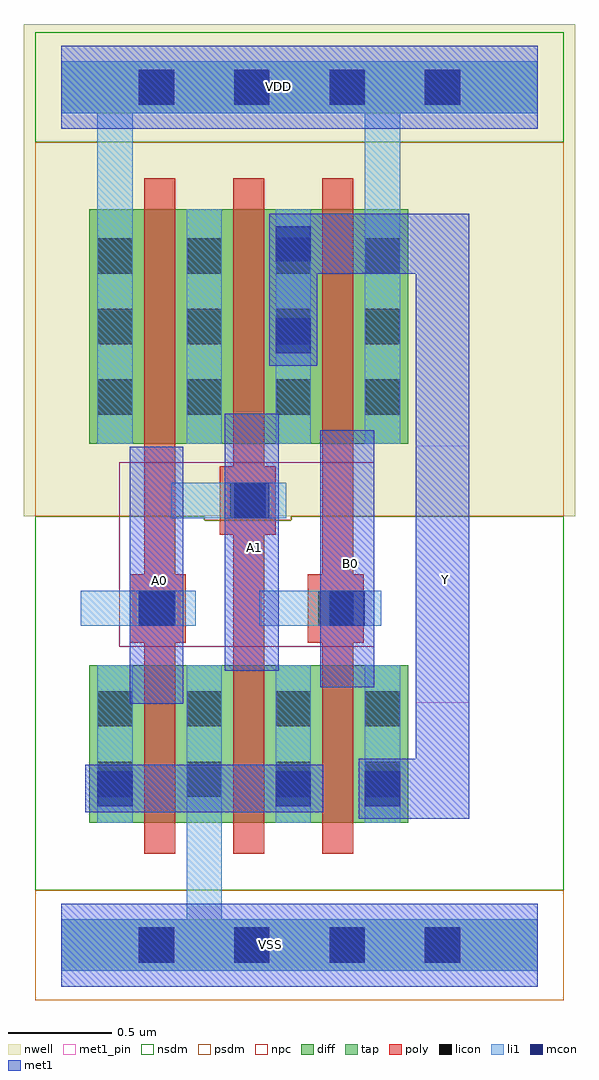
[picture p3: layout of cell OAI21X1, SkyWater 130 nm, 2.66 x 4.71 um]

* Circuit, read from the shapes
.subckt OAI21X1 A0 A1 B0 VDD VSS Y
XM1 VSS A0 n1 VSS sky130_fd_pr__nfet_01v8 w=0.76 l=0.15
XM2 n1 A1 VSS VSS sky130_fd_pr__nfet_01v8 w=0.76 l=0.15
XM3 Y B0 n1 VSS sky130_fd_pr__nfet_01v8 w=0.76 l=0.15
XM4 n2 A0 VDD VDD sky130_fd_pr__pfet_01v8 w=1.13 l=0.15
XM5 Y A1 n2 VDD sky130_fd_pr__pfet_01v8 w=1.13 l=0.15
XM6 VDD B0 Y VDD sky130_fd_pr__pfet_01v8 w=1.13 l=0.15
.ends

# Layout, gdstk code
from math import pi, radians
import gdstk
lib = gdstk.Library(unit=1e-6, precision=1e-09)
def R(c, l, rs):  # rectangles x0, y0, x1, y1
    for r in rs: c.add(gdstk.rectangle(r[:2], r[2:], *l))
def A(c, l, x, y, w, h, nx, ny, dx, dy):  # array of equal rectangles
    R(c, l, [(x+i*dx, y+j*dy, x+i*dx+w, y+j*dy+h) for i in range(nx) for j in range(ny)])
def P(c, l, *ps):  # polygons
    for p in ps: c.add(gdstk.Polygon(p, *l))
nwell = (64, 20)
diff = (65, 20)
tap = (65, 44)
poly = (66, 20)
licon = (66, 44)
li1 = (67, 20)
mcon = (67, 44)
met1_pin = (68, 16)
met1 = (68, 20)
nsdm = (93, 44)
psdm = (94, 20)
npc = (95, 20)

pfet_01v8_cdns_716492285 = lib.new_cell('pfet_01v8_CDNS_71649228522130')
R(pfet_01v8_cdns_716492285, nwell, [(-0.235,-0.18,0.555,1.31)])
R(pfet_01v8_cdns_716492285, diff, [(-0.055,0,0,1.13), (0,0,0.15,1.13), (0.15,0,0.375,1.13)])
R(pfet_01v8_cdns_716492285, poly, [(0,-0.15,0.15,-0.095), (0,-0.095,0.15,0), (0,0,0.15,1.13), (0,1.13,0.15,1.225), (0,1.225,0.15,1.28)])
A(pfet_01v8_cdns_716492285, licon, 0.205, 0.14, 0.17, 0.17, 1, 3, 0, 0.34)
R(pfet_01v8_cdns_716492285, li1, [(0.205,0,0.375,1.13)])
R(pfet_01v8_cdns_716492285, psdm, [(-0.065,-0.13,0.385,1.26)])

nfet_01v8_cdns_716492285 = lib.new_cell('nfet_01v8_CDNS_71649228522131')
R(nfet_01v8_cdns_716492285, diff, [(-0.055,0,0,0.76), (0,0,0.15,0.76), (0.15,0,0.375,0.76)])
R(nfet_01v8_cdns_716492285, poly, [(0,-0.15,0.15,-0.095), (0,-0.095,0.15,0), (0,0,0.15,0.76), (0,0.76,0.15,0.855), (0,0.855,0.15,0.91)])
R(nfet_01v8_cdns_716492285, licon, [(0.205,0.125,0.375,0.295), (0.205,0.465,0.375,0.635)])
R(nfet_01v8_cdns_716492285, li1, [(0.205,0,0.375,0.76)])
R(nfet_01v8_cdns_716492285, nsdm, [(-0.065,-0.13,0.385,0.89)])

c_pfet_01v8_cdns_716492285 = lib.new_cell('pfet_01v8_CDNS_71649228522129')
R(c_pfet_01v8_cdns_716492285, nwell, [(-0.445,-0.18,0.555,1.31)])
R(c_pfet_01v8_cdns_716492285, diff, [(-0.265,0,0,1.13), (0,0,0.15,1.13), (0.15,0,0.375,1.13)])
R(c_pfet_01v8_cdns_716492285, poly, [(0,-0.15,0.15,-0.095), (0,-0.095,0.15,0), (0,0,0.15,1.13), (0,1.13,0.15,1.225), (0,1.225,0.15,1.28)])
A(c_pfet_01v8_cdns_716492285, licon, -0.225, 0.14, 0.17, 0.17, 1, 3, 0, 0.34)
R(c_pfet_01v8_cdns_716492285, li1, [(-0.225,0,-0.055,1.13)])
R(c_pfet_01v8_cdns_716492285, psdm, [(-0.405,-0.13,0.385,1.26)])

c_pfet_01v8_cdns_716492285_ = lib.new_cell('pfet_01v8_CDNS_71649228522145')
R(c_pfet_01v8_cdns_716492285_, nwell, [(-0.445,-0.18,0.385,1.31)])
R(c_pfet_01v8_cdns_716492285_, diff, [(-0.265,0,0,1.13), (0,0,0.15,1.13), (0.15,0,0.205,1.13)])
R(c_pfet_01v8_cdns_716492285_, poly, [(0,-0.15,0.15,-0.095), (0,-0.095,0.15,0), (0,0,0.15,1.13), (0,1.13,0.15,1.225), (0,1.225,0.15,1.28)])
A(c_pfet_01v8_cdns_716492285_, licon, -0.225, 0.14, 0.17, 0.17, 1, 3, 0, 0.34)
R(c_pfet_01v8_cdns_716492285_, li1, [(-0.225,0,-0.055,1.13)])
R(c_pfet_01v8_cdns_716492285_, psdm, [(-0.405,-0.13,0.215,1.26)])

c_nfet_01v8_cdns_716492285 = lib.new_cell('nfet_01v8_CDNS_716492285227')
R(c_nfet_01v8_cdns_716492285, diff, [(-0.225,0,0,0.76), (0,0,0.15,0.76), (0.15,0,0.415,0.76)])
R(c_nfet_01v8_cdns_716492285, poly, [(0,-0.15,0.15,-0.095), (0,-0.095,0.15,0), (0,0,0.15,0.76), (0,0.76,0.15,0.855), (0,0.855,0.15,0.91)])
R(c_nfet_01v8_cdns_716492285, licon, [(-0.225,0.125,-0.055,0.295), (0.205,0.125,0.375,0.295), (-0.225,0.465,-0.055,0.635), (0.205,0.465,0.375,0.635)])
R(c_nfet_01v8_cdns_716492285, li1, [(-0.225,0,-0.055,0.76), (0.205,0,0.375,0.76)])
R(c_nfet_01v8_cdns_716492285, nsdm, [(-0.235,-0.13,0.555,0.89)])

c_nfet_01v8_cdns_716492285_ = lib.new_cell('nfet_01v8_CDNS_71649228522146')
R(c_nfet_01v8_cdns_716492285_, diff, [(-0.055,0,0,0.76), (0,0,0.15,0.76), (0.15,0,0.415,0.76)])
R(c_nfet_01v8_cdns_716492285_, poly, [(0,-0.15,0.15,-0.095), (0,-0.095,0.15,0), (0,0,0.15,0.76), (0,0.76,0.15,0.855), (0,0.855,0.15,0.91)])
R(c_nfet_01v8_cdns_716492285_, licon, [(0.205,0.125,0.375,0.295), (0.205,0.465,0.375,0.635)])
R(c_nfet_01v8_cdns_716492285_, li1, [(0.205,0,0.375,0.76)])
R(c_nfet_01v8_cdns_716492285_, nsdm, [(-0.065,-0.13,0.555,0.89)])

pyl1con_c_cdns_716492285 = lib.new_cell('PYL1CON_C_CDNS_716492285220')
R(pyl1con_c_cdns_716492285, poly, [(-0.135,-0.165,0.135,0.165)])
R(pyl1con_c_cdns_716492285, licon, [(-0.085,-0.085,0.085,0.085)])
R(pyl1con_c_cdns_716492285, npc, [(-0.185,-0.185,0.185,0.185)])

l1m1_c_cdns_716492285222 = lib.new_cell('L1M1_C_CDNS_716492285222')
R(l1m1_c_cdns_716492285222, li1, [(-0.085,-0.165,0.085,0.165)])
R(l1m1_c_cdns_716492285222, mcon, [(-0.085,-0.085,0.085,0.085)])
R(l1m1_c_cdns_716492285222, met1, [(-0.115,-0.145,0.115,0.145)])

l1m1_c_cdns_716492285223 = lib.new_cell('L1M1_C_CDNS_716492285223')
R(l1m1_c_cdns_716492285223, li1, [(-0.165,-0.085,0.165,0.085)])
R(l1m1_c_cdns_716492285223, mcon, [(-0.085,-0.085,0.085,0.085)])
R(l1m1_c_cdns_716492285223, met1, [(-0.115,-0.145,0.115,0.145)])

l1m1_c_cdns_716492285226 = lib.new_cell('L1M1_C_CDNS_716492285226')
R(l1m1_c_cdns_716492285226, li1, [(-0.085,-0.165,0.085,0.165)])
R(l1m1_c_cdns_716492285226, mcon, [(-0.085,-0.085,0.085,0.085)])
R(l1m1_c_cdns_716492285226, met1, [(-0.145,-0.115,0.145,0.115)])

oai21x1 = lib.new_cell('OAI21X1')
R(oai21x1, nwell, [(-0.18,2.07,2.48,4.305), (-0.18,3.875,2.48,4.445)])
A(oai21x1, licon, 0.605, 2.56, 0.17, 0.17, 1, 3, 0, 0.34)
R(oai21x1, licon, [(0.375,-0.085,0.545,0.085), (0.375,-0.085,0.545,0.085), (0.835,-0.085,1.005,0.085), (0.835,-0.085,1.005,0.085), (1.295,-0.085,1.465,0.085), (1.295,-0.085,1.465,0.085), (1.755,-0.085,1.925,0.085), (1.755,-0.085,1.925,0.085), (0.375,4.055,0.545,4.225), (0.375,4.055,0.545,4.225), (0.835,4.055,1.005,4.225), (0.835,4.055,1.005,4.225), (1.295,4.055,1.465,4.225), (1.295,4.055,1.465,4.225), (1.755,4.055,1.925,4.225), (1.755,4.055,1.925,4.225)])
R(oai21x1, li1, [(0.605,2.42,0.775,3.55)])
R(oai21x1, mcon, [(0.375,-0.085,0.545,0.085), (0.375,-0.085,0.545,0.085), (0.835,-0.085,1.005,0.085), (0.835,-0.085,1.005,0.085), (1.295,-0.085,1.465,0.085), (1.295,-0.085,1.465,0.085), (1.755,-0.085,1.925,0.085), (1.755,-0.085,1.925,0.085), (0.375,4.055,0.545,4.225), (0.375,4.055,0.545,4.225), (0.835,4.055,1.005,4.225), (0.835,4.055,1.005,4.225), (1.295,4.055,1.465,4.225), (1.295,4.055,1.465,4.225), (1.755,4.055,1.925,4.225), (1.755,4.055,1.925,4.225)])
R(oai21x1, met1_pin, [(0.33,1.165,0.59,2.405), (1.71,1.17,1.97,2.41), (1.25,1.245,1.51,2.485), (0.79,1.325,1.05,2.565)])
R(oai21x1, nsdm, [(-0.125,3.875,2.425,4.405), (-0.125,3.875,2.425,4.405), (-0.125,3.93,2.425,4.35), (-0.125,3.93,2.425,4.35)])
P(oai21x1, nsdm, [(2.425,2.07),(1.11,2.07),(1.11,2.05),(0.69,2.05),(0.69,2.07),(-0.125,2.07),(-0.125,0.265),(2.425,0.265)])
R(oai21x1, psdm, [(-0.125,-0.265,2.425,0.265), (-0.125,-0.21,2.425,0.21)])
P(oai21x1, psdm, [(2.425,3.875),(-0.125,3.875),(-0.125,2.07),(0.69,2.07),(0.69,2.05),(1.11,2.05),(1.11,2.07),(2.425,2.07)])
R(oai21x1, npc, [(0.28,1.44,1.51,2.33)])
oai21x1.add(gdstk.FlexPath([(0.475,2.27),(0.475,1.5)], 0.15, ends="flush", simple_path=True, layer=66, datatype=20))  # poly
oai21x1.add(gdstk.FlexPath([(0.905,2.27),(0.905,1.5)], 0.15, ends="flush", simple_path=True, layer=66, datatype=20))  # poly
oai21x1.add(gdstk.FlexPath([(1.335,2.27),(1.335,1.5)], 0.15, ends="flush", simple_path=True, layer=66, datatype=20))  # poly
oai21x1.add(gdstk.FlexPath([(0.955,1.625),(1.49,1.625)], 0.17, ends="flush", simple_path=True, layer=67, datatype=20))  # li1
oai21x1.add(gdstk.FlexPath([(0.53,2.145),(1.085,2.145)], 0.17, ends="flush", simple_path=True, layer=67, datatype=20))  # li1
oai21x1.add(gdstk.FlexPath([(0.095,1.625),(0.65,1.625)], 0.17, ends="flush", simple_path=True, layer=67, datatype=20))  # li1
oai21x1.add(gdstk.FlexPath([(2.215,0),(0,0)], 0.25, ends=(0.085, 0), simple_path=True, layer=67, datatype=20))  # li1
oai21x1.add(gdstk.FlexPath([(2.215,0),(0,0)], 0.25, ends=(0.085, 0), simple_path=True, layer=67, datatype=20))  # li1
oai21x1.add(gdstk.FlexPath([(2.215,4.14),(0,4.14)], 0.25, ends=(0.085, 0), simple_path=True, layer=67, datatype=20))  # li1
oai21x1.add(gdstk.FlexPath([(2.215,4.14),(0,4.14)], 0.25, ends=(0.085, 0), simple_path=True, layer=67, datatype=20))  # li1
oai21x1.add(gdstk.FlexPath([(1.55,3.55),(1.55,4.15)], 0.17, ends="flush", simple_path=True, layer=67, datatype=20))  # li1
oai21x1.add(gdstk.FlexPath([(0.69,0.59),(0.69,0)], 0.17, ends="flush", simple_path=True, layer=67, datatype=20))  # li1
oai21x1.add(gdstk.FlexPath([(0.26,3.55),(0.26,4.11)], 0.17, ends="flush", simple_path=True, layer=67, datatype=20))  # li1
oai21x1.add(gdstk.FlexPath([(0,0),(2.3,0)], 0.25, ends="flush", simple_path=True, layer=65, datatype=44))  # tap
oai21x1.add(gdstk.FlexPath([(0,0),(2.3,0)], 0.25, ends="flush", simple_path=True, layer=65, datatype=44))  # tap
oai21x1.add(gdstk.FlexPath([(0,4.14),(2.3,4.14)], 0.25, ends="flush", simple_path=True, layer=65, datatype=44))  # tap
oai21x1.add(gdstk.FlexPath([(0,4.14),(2.3,4.14)], 0.25, ends="flush", simple_path=True, layer=65, datatype=44))  # tap
oai21x1.add(gdstk.FlexPath([(1.825,0.615),(1.825,0.755)], 0.29, ends=(0, 0.145), simple_path=True, layer=68, datatype=20))  # met1
oai21x1.add(gdstk.FlexPath([(0.92,1.325),(0.92,2.565)], 0.26, ends="flush", simple_path=True, layer=68, datatype=20))  # met1
oai21x1.add(gdstk.FlexPath([(0.46,1.165),(0.46,2.405)], 0.26, ends="flush", simple_path=True, layer=68, datatype=20))  # met1
oai21x1.add(gdstk.FlexPath([(1.84,3.53),(1.84,0.615)], 0.26, ends="flush", simple_path=True, layer=68, datatype=20))  # met1
oai21x1.add(gdstk.FlexPath([(1.38,1.245),(1.38,2.485)], 0.26, ends="flush", simple_path=True, layer=68, datatype=20))  # met1
oai21x1.add(gdstk.FlexPath([(1.265,0.755),(0.115,0.755)], 0.23, ends="flush", simple_path=True, layer=68, datatype=20))  # met1
oai21x1.add(gdstk.FlexPath([(1.825,0.755),(1.535,0.755)], 0.29, ends=(0.145, 0), simple_path=True, layer=68, datatype=20))  # met1
oai21x1.add(gdstk.FlexPath([(1.84,3.385),(1.12,3.385)], 0.29, ends="flush", simple_path=True, layer=68, datatype=20))  # met1
oai21x1.add(gdstk.FlexPath([(1.12,3.38),(1.12,2.94)], 0.23, ends="flush", simple_path=True, layer=68, datatype=20))  # met1
oai21x1.add(gdstk.FlexPath([(0,0),(2.3,0)], 0.4, ends="flush", simple_path=True, layer=68, datatype=20))  # met1
oai21x1.add(gdstk.FlexPath([(0,4.14),(2.3,4.14)], 0.4, ends="flush", simple_path=True, layer=68, datatype=20))  # met1
oai21x1.add(gdstk.FlexPath([(0,0),(2.3,0)], 0.4, ends="flush", simple_path=True, layer=68, datatype=16))  # met1_pin
oai21x1.add(gdstk.FlexPath([(0,4.14),(2.3,4.14)], 0.4, ends="flush", simple_path=True, layer=68, datatype=16))  # met1_pin
oai21x1.add(gdstk.FlexPath([(0,4.14),(2.3,4.14)], 0.4, ends="flush", simple_path=True, layer=68, datatype=16))  # met1_pin
oai21x1.add(gdstk.FlexPath([(0,0),(2.3,0)], 0.4, ends="flush", simple_path=True, layer=68, datatype=16))  # met1_pin
oai21x1.add(gdstk.Reference(pfet_01v8_cdns_716492285, (0.83,2.42)))
oai21x1.add(gdstk.Reference(nfet_01v8_cdns_716492285, (0.83,0.59)))
oai21x1.add(gdstk.Reference(c_pfet_01v8_cdns_716492285, (0.4,2.42)))
oai21x1.add(gdstk.Reference(c_pfet_01v8_cdns_716492285_, (1.41,2.42), rotation=pi, x_reflection=True))
oai21x1.add(gdstk.Reference(c_nfet_01v8_cdns_716492285, (0.55,0.59), rotation=pi, x_reflection=True))
oai21x1.add(gdstk.Reference(c_nfet_01v8_cdns_716492285_, (1.26,0.59)))
oai21x1.add(gdstk.Reference(pyl1con_c_cdns_716492285, (0.9,2.145), rotation=pi, x_reflection=True))
oai21x1.add(gdstk.Reference(pyl1con_c_cdns_716492285, (1.325,1.625), rotation=pi, x_reflection=True))
oai21x1.add(gdstk.Reference(pyl1con_c_cdns_716492285, (0.465,1.625), rotation=pi, x_reflection=True))
oai21x1.add(gdstk.Reference(l1m1_c_cdns_716492285222, (1.12,3.385)))
oai21x1.add(gdstk.Reference(l1m1_c_cdns_716492285222, (1.55,0.755)))
oai21x1.add(gdstk.Reference(l1m1_c_cdns_716492285222, (1.12,2.94)))
oai21x1.add(gdstk.Reference(l1m1_c_cdns_716492285223, (0.92,2.145), x_reflection=True))
oai21x1.add(gdstk.Reference(l1m1_c_cdns_716492285223, (1.38,1.625), x_reflection=True))
oai21x1.add(gdstk.Reference(l1m1_c_cdns_716492285223, (0.46,1.625), x_reflection=True))
oai21x1.add(gdstk.Reference(l1m1_c_cdns_716492285226, (0.26,0.755)))
oai21x1.add(gdstk.Reference(l1m1_c_cdns_716492285226, (1.12,0.755)))
oai21x1.add(gdstk.Label('VDD', (1.05,4.145), layer=68, texttype=5))
oai21x1.add(gdstk.Label('Y', (1.855,1.765), layer=68, texttype=5))
oai21x1.add(gdstk.Label('B0', (1.395,1.84), layer=68, texttype=5))
oai21x1.add(gdstk.Label('A0', (0.475,1.76), layer=68, texttype=5))
oai21x1.add(gdstk.Label('A1', (0.935,1.92), layer=68, texttype=5))
oai21x1.add(gdstk.Label('VSS', (1.01,0.005), layer=68, texttype=5))

lib.write_gds('OAI21X1.gds')
